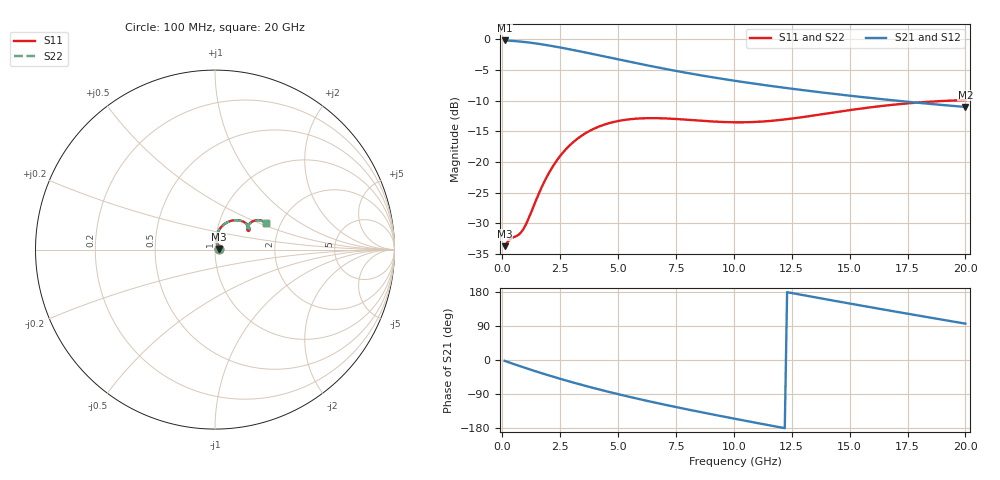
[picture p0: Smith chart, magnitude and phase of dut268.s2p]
! Touchstone file exported from HFSS 2024.1.0
!  File:  C:/UserFiles/LocalFiles/RDL_TSV_Batchsim/temp_RDL_TSV_268_1779461550.aedt
!  Generated:  11:08:52 PM May 22, 2026
!  Design:  RDL_TSV
!  Project:  temp_RDL_TSV_268_1779461550
!  Setup:  Setup1
!  Solution:  Sweep
! Variables:
!  dtsv = 10.16um
!  hbump = 3um
!  htsv = 62.04um
!  ldown = 668.59um
!  lrdl = 539.43um
!  p = 40
!  p1 = 47.14um
!  rhole = 10um
!  subl = 4163.49um
!  t = 450um
!  tdown = 3.88um
!  trdl = 2.59um
!  viad = 10um
!  wdown = 23.4um
!  wrdl = 24.84um
!  xbump = 18um
# GHz S MA R 50.000000
! Terminal data exported
! Port[1] = TM1_1_T1
! Port[2] = TM1_4_T1
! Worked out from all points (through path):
!   200 points, 100 MHz to 20 GHz, reference 50 ohm
!   highest |S21| = -0.18 dB at 100 MHz (marker M1); lowest = -11.0 dB at 20 GHz (marker M2)
!   group delay of S21, straight-line fit = 34.9 ps
!   lowest |S11| = -33.7 dB at 100 MHz (marker M3), VSWR 1.04, Z = 52.1 + j0.354 ohm
!   |S11| at or under -10 dB: start of sweep to 19.26 GHz
!   |S22| runs from -33.7 to -9.9 dB; largest |S21 - S12| = 9.6e-15
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0.1  0.02065 9.5  0.9792 -2.2  0.9792 -2.2  0.02065 9.5
! Gamma 0 0 0 0
! Port Impedance 50 0 50 0
0.3  0.02316 21.5  0.975 -6.6  0.975 -6.6  0.02316 21.5
0.7  0.02557 42.1  0.9624 -14.9  0.9624 -14.9  0.02558 42.1
0.9  0.02821 55.3  0.9542 -19.0  0.9542 -19.0  0.02822 55.3
1.4  0.04599 78.0  0.9289 -29.0  0.9289 -29.0  0.04599 78.0
1.8  0.06828 82.5  0.9048 -36.7  0.9048 -36.7  0.06826 82.4
2.2  0.09325 81.1  0.8787 -44.2  0.8787 -44.2  0.09321 81.0
2.6  0.1183 77.1  0.8513 -51.4  0.8513 -51.4  0.1182 77.0
3  0.1418 72.2  0.8233 -58.4  0.8233 -58.4  0.1417 72.1
3.5  0.1676 65.6  0.7882 -66.8  0.7882 -66.8  0.1674 65.5
4.3  0.1988 55.6  0.7331 -79.6  0.7331 -79.6  0.1986 55.5
5.2  0.2194 45.9  0.675 -93.1  0.675 -93.1  0.2191 45.9
6  0.2271 39.1  0.628 -104.4  0.628 -104.4  0.2267 39.1
6.8  0.2276 34.1  0.5859 -115.1  0.5859 -115.1  0.2272 34.0
8.4  0.2185 29.2  0.5156 -135.4  0.5156 -135.4  0.218 29.1
10.1  0.2109 30.3  0.4577 -155.7  0.4577 -155.7  0.2105 30.3
11.7  0.2175 34.1  0.4146 -174.2  0.4146 -174.2  0.217 34.1
13.4  0.2389 36.8  0.3771 166.6  0.3771 166.6  0.2383 36.8
15  0.2649 36.7  0.3476 149.0  0.3476 149.0  0.2643 36.7
16.7  0.2908 34.4  0.321 130.7  0.321 130.7  0.29 34.4
18.3  0.3089 31.2  0.3 113.7  0.3 113.7  0.3079 31.1
20  0.32 27.5  0.2813 96.0  0.2813 96.0  0.3188 27.4
